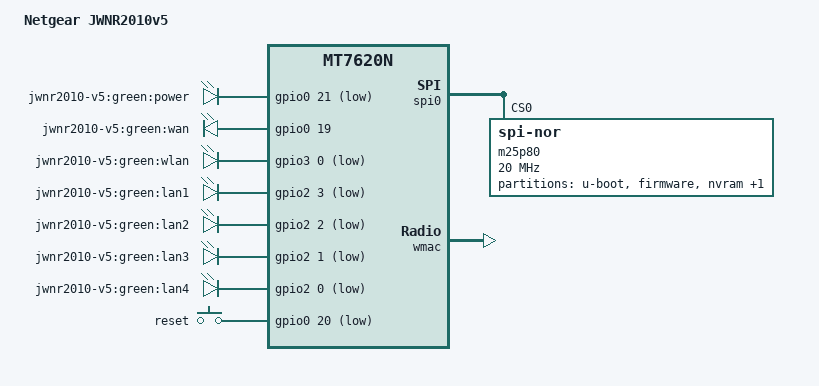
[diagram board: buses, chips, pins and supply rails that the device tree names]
/dts-v1/;

#include "mt7620n.dtsi"

#include <dt-bindings/gpio/gpio.h>
#include <dt-bindings/input/input.h>

/ {
	compatible = "netgear,jwnr2010-v5", "ralink,mt7620n-soc";
	model = "Netgear JWNR2010v5";

	gpio-leds {
		compatible = "gpio-leds";

		led_power: power {
			label = "jwnr2010-v5:green:power";
			gpios = <&gpio0 21 GPIO_ACTIVE_LOW>;
		};

		wan {
			label = "jwnr2010-v5:green:wan";
			gpios = <&gpio0 19 GPIO_ACTIVE_HIGH>;
		};

		wlan {
			label = "jwnr2010-v5:green:wlan";
			gpios = <&gpio3 0 GPIO_ACTIVE_LOW>;
			linux,default-trigger = "phy0radio";
		};

		lan1 {
			label = "jwnr2010-v5:green:lan1";
			gpios = <&gpio2 3 GPIO_ACTIVE_LOW>;
		};

		lan2 {
			label = "jwnr2010-v5:green:lan2";
			gpios = <&gpio2 2 GPIO_ACTIVE_LOW>;
		};

		lan3 {
			label = "jwnr2010-v5:green:lan3";
			gpios = <&gpio2 1 GPIO_ACTIVE_LOW>;
		};

		lan4 {
			label = "jwnr2010-v5:green:lan4";
			gpios = <&gpio2 0 GPIO_ACTIVE_LOW>;
		};
	};

	gpio-keys-polled {
		compatible = "gpio-keys-polled";
		#address-cells = <1>;
		#size-cells = <0>;
		poll-interval = <20>;

		reset {
			label = "reset";
			gpios = <&gpio0 20 GPIO_ACTIVE_LOW>;
			linux,code = <KEY_RESTART>;
		};
	};
};

&gpio2 {
	status = "okay";
};

&gpio3 {
	status = "okay";
};

&spi0 {
	status = "okay";

	m25p80@0 {
		#address-cells = <1>;
		#size-cells = <1>;
		compatible = "jedec,spi-nor";
		reg = <0>;
		spi-max-frequency = <20000000>;

		partition@0 {
			label = "u-boot";
			reg = <0x0 0x20000>;
			read-only;
		};

		partition@20000 {
			label = "firmware";
			reg = <0x20000 0x3c0000>;
		};

		partition@3e0000 {
			label = "nvram";
			reg = <0x3e0000 0x10000>;
			read-only;
		};

		factory: partition@3f0000 {
			label = "factory";
			reg = <0x3f0000 0x10000>;
			read-only;
		};
	};
};

&ethernet {
	mtd-mac-address = <&factory 0x4>;
	mediatek,portmap = "wllll";
};

&wmac {
	ralink,mtd-eeprom = <&factory 0>;
};

&pinctrl {
	state_default: pinctrl0 {
		default {
			ralink,group = "pa", "ephy", "wled";
			ralink,function = "gpio";
		};
	};
};
